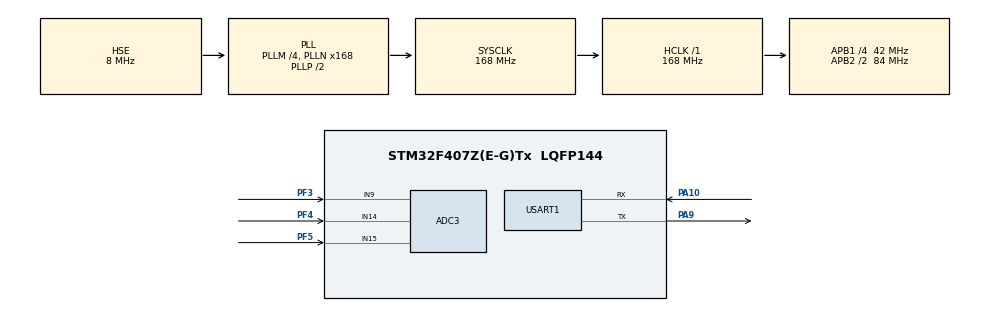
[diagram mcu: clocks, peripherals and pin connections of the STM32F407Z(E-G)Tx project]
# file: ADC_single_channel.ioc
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ADC3.Channel-0\#ChannelRegularConversion=ADC_CHANNEL_9
ADC3.Channel-1\#ChannelRegularConversion=ADC_CHANNEL_14
ADC3.Channel-2\#ChannelRegularConversion=ADC_CHANNEL_15
ADC3.NbrOfConversion=3
ADC3.NbrOfConversionFlag=1
ADC3.Rank-0\#ChannelRegularConversion=1
ADC3.Rank-1\#ChannelRegularConversion=2
ADC3.Rank-2\#ChannelRegularConversion=3
ADC3.SamplingTime-0\#ChannelRegularConversion=ADC_SAMPLETIME_3CYCLES
ADC3.SamplingTime-1\#ChannelRegularConversion=ADC_SAMPLETIME_3CYCLES
ADC3.SamplingTime-2\#ChannelRegularConversion=ADC_SAMPLETIME_3CYCLES
Dma.Request0=USART1_RX
Dma.USART1_RX.0.Direction=DMA_PERIPH_TO_MEMORY
Dma.USART1_RX.0.FIFOMode=DMA_FIFOMODE_DISABLE
Dma.USART1_RX.0.Instance=DMA2_Stream2
Dma.USART1_RX.0.MemDataAlignment=DMA_MDATAALIGN_BYTE
Dma.USART1_RX.0.MemInc=DMA_MINC_ENABLE
Dma.USART1_RX.0.Mode=DMA_NORMAL
Dma.USART1_RX.0.PeriphDataAlignment=DMA_PDATAALIGN_BYTE
Dma.USART1_RX.0.PeriphInc=DMA_PINC_DISABLE
Dma.USART1_RX.0.Priority=DMA_PRIORITY_LOW
Mcu.Family=STM32F4
Mcu.Name=STM32F407Z(E-G)Tx
Mcu.Package=LQFP144
NVIC.DMA2_Stream2_IRQn=true\:0\:0\:false\:false\:true\:false\:true
NVIC.PriorityGroup=NVIC_PRIORITYGROUP_4
NVIC.TIM3_IRQn=true\:0\:0\:false\:false\:true\:true\:true
NVIC.USART1_IRQn=true\:0\:0\:false\:false\:true\:true\:true
PA10.Mode=Asynchronous
PA10.Signal=USART1_RX
PA9.Mode=Asynchronous
PA9.Signal=USART1_TX
PC14-OSC32_IN.Mode=LSE-External-Oscillator
PC14-OSC32_IN.Signal=RCC_OSC32_IN
PC15-OSC32_OUT.Mode=LSE-External-Oscillator
PC15-OSC32_OUT.Signal=RCC_OSC32_OUT
PF3.Mode=IN9
PF3.Signal=ADC3_IN9
PF4.Mode=IN14
PF4.Signal=ADC3_IN14
PF5.Mode=IN15
PF5.Signal=ADC3_IN15
PH0-OSC_IN.Mode=HSE-External-Oscillator
PH0-OSC_IN.Signal=RCC_OSC_IN
PH1-OSC_OUT.Mode=HSE-External-Oscillator
PH1-OSC_OUT.Signal=RCC_OSC_OUT
ProjectManager.HeapSize=0x200
ProjectManager.StackSize=0x400
ProjectManager.TargetToolchain=MDK-ARM V5
RCC.48MHZClocksFreq_Value=84000000
RCC.AHBFreq_Value=168000000
RCC.APB1CLKDivider=RCC_HCLK_DIV4
RCC.APB1Freq_Value=42000000
RCC.APB1TimFreq_Value=84000000
RCC.APB2CLKDivider=RCC_HCLK_DIV2
RCC.APB2Freq_Value=84000000
RCC.APB2TimFreq_Value=168000000
RCC.CortexFreq_Value=168000000
RCC.HCLKFreq_Value=168000000
RCC.HSE_VALUE=8000000
RCC.HSI_VALUE=16000000
RCC.PLLM=4
RCC.PLLN=168
RCC.PLLSourceVirtual=RCC_PLLSOURCE_HSE
RCC.SYSCLKFreq_VALUE=168000000
RCC.SYSCLKSource=RCC_SYSCLKSOURCE_PLLCLK
RCC.VCOOutputFreq_Value=336000000
TIM3.Period=1000
TIM3.Prescaler=84
USART1.VirtualMode=VM_ASYNC
VP_TIM3_VS_ClockSourceINT.Mode=Internal
board=custom

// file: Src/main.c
/* USER CODE BEGIN Header */
/**
  ******************************************************************************
  * @file           : main.c
  * @brief          : Main program body
  ******************************************************************************
  * @attention
  *
  * <h2><center>&copy; Copyright (c) 2020 STMicroelectronics.
  * All rights reserved.</center></h2>
  *
  * This software component is licensed by ST under BSD 3-Clause license,
  * the "License"; You may not use this file except in compliance with the
  * License. You may obtain a copy of the License at:
  *                        opensource.org/licenses/BSD-3-Clause
  *
  ******************************************************************************
  */
/* USER CODE END Header */

#include "main.h"
#include "adc.h"
#include "dma.h"
#include "tim.h"
#include "usart.h"
#include "gpio.h"

void SystemClock_Config(void);

/* USER CODE BEGIN 0 */
void get_ADC_Value(void)
{
	  uint16_t AD_Value;
	  float    Value_1;
	  HAL_ADC_Start(&hadc3);                               //开启ADC
    AD_Value=HAL_ADC_GetValue(&hadc3);
    Value_1=(float)(AD_Value*3.3/4096);
    printf("%f\r\n",Value_1);
}
/* USER CODE END 0 */

int main(void)
{

  /* MCU Configuration--------------------------------------------------------*/

  /* Reset of all peripherals, Initializes the Flash interface and the Systick. */
  HAL_Init();

  /* Configure the system clock */
  SystemClock_Config();

  /* Initialize all configured peripherals */
  MX_GPIO_Init();
  MX_DMA_Init();
  MX_ADC3_Init();
  MX_TIM3_Init();
  MX_USART1_UART_Init();
  /* USER CODE BEGIN 2 */
  HAL_TIM_Base_Start_IT(&htim3);
	HAL_UART_Receive_DMA(&huart1, ar_usart1_rx_buffer, MAX_RECEIVE_DATA);
  __HAL_UART_ENABLE_IT(&huart1, UART_IT_IDLE);
  /* USER CODE END 2 */

  /* Infinite loop */
  while (1)
  {

    /* USER CODE BEGIN 3 */
//		if(g_adc_flag==1)
//     {
//			 g_adc_flag=0;
//			 get_ADC_Value();
//		 }

		  if (g_usart1_rx_finish == 1)
        {
            g_usart1_rx_finish = 0;
					  if(ar_usart1_tx_buffer[0]==0xAA)
              {
								  sConfig.Channel = ADC_CHANNEL_9;
									sConfig.Rank = 1;
									sConfig.SamplingTime = ADC_SAMPLETIME_3CYCLES;
									if (HAL_ADC_ConfigChannel(&hadc3, &sConfig) != HAL_OK)
									{
										Error_Handler();
									}
									get_ADC_Value();
							}
							else if(ar_usart1_tx_buffer[0]==0xBB)
              {
									sConfig.Channel = ADC_CHANNEL_14;
									sConfig.Rank = 1;
									sConfig.SamplingTime = ADC_SAMPLETIME_3CYCLES;
									if (HAL_ADC_ConfigChannel(&hadc3, &sConfig) != HAL_OK)
									{
										Error_Handler();
									}
									get_ADC_Value();
							}
							else if(ar_usart1_tx_buffer[0]==0xCC)
              {
									sConfig.Channel = ADC_CHANNEL_15;
									sConfig.Rank = 1;
									sConfig.SamplingTime = ADC_SAMPLETIME_3CYCLES;
									if (HAL_ADC_ConfigChannel(&hadc3, &sConfig) != HAL_OK)
									{
										Error_Handler();
									}
									get_ADC_Value();
							}
//			      HAL_UART_Transmit(&huart1, (uint8_t *)ar_usart1_tx_buffer, g_usart1_rx_len, 1000);
        }
  }
  /* USER CODE END 3 */
}

void SystemClock_Config(void)
{
  RCC_OscInitTypeDef RCC_OscInitStruct = {0};
  RCC_ClkInitTypeDef RCC_ClkInitStruct = {0};

  /** Configure the main internal regulator output voltage
  */
  __HAL_RCC_PWR_CLK_ENABLE();
  __HAL_PWR_VOLTAGESCALING_CONFIG(PWR_REGULATOR_VOLTAGE_SCALE1);
  /** Initializes the CPU, AHB and APB busses clocks
  */
  RCC_OscInitStruct.OscillatorType = RCC_OSCILLATORTYPE_HSE;
  RCC_OscInitStruct.HSEState = RCC_HSE_ON;
  RCC_OscInitStruct.PLL.PLLState = RCC_PLL_ON;
  RCC_OscInitStruct.PLL.PLLSource = RCC_PLLSOURCE_HSE;
  RCC_OscInitStruct.PLL.PLLM = 4;
  RCC_OscInitStruct.PLL.PLLN = 168;
  RCC_OscInitStruct.PLL.PLLP = RCC_PLLP_DIV2;
  RCC_OscInitStruct.PLL.PLLQ = 4;
  if (HAL_RCC_OscConfig(&RCC_OscInitStruct) != HAL_OK)
  {
    Error_Handler();
  }
  /** Initializes the CPU, AHB and APB busses clocks
  */
  RCC_ClkInitStruct.ClockType = RCC_CLOCKTYPE_HCLK|RCC_CLOCKTYPE_SYSCLK
                              |RCC_CLOCKTYPE_PCLK1|RCC_CLOCKTYPE_PCLK2;
  RCC_ClkInitStruct.SYSCLKSource = RCC_SYSCLKSOURCE_PLLCLK;
  RCC_ClkInitStruct.AHBCLKDivider = RCC_SYSCLK_DIV1;
  RCC_ClkInitStruct.APB1CLKDivider = RCC_HCLK_DIV4;
  RCC_ClkInitStruct.APB2CLKDivider = RCC_HCLK_DIV2;

  if (HAL_RCC_ClockConfig(&RCC_ClkInitStruct, FLASH_LATENCY_5) != HAL_OK)
  {
    Error_Handler();
  }
}

void Error_Handler(void)
{
}

/************************ (C) COPYRIGHT STMicroelectronics *****END OF FILE****/
